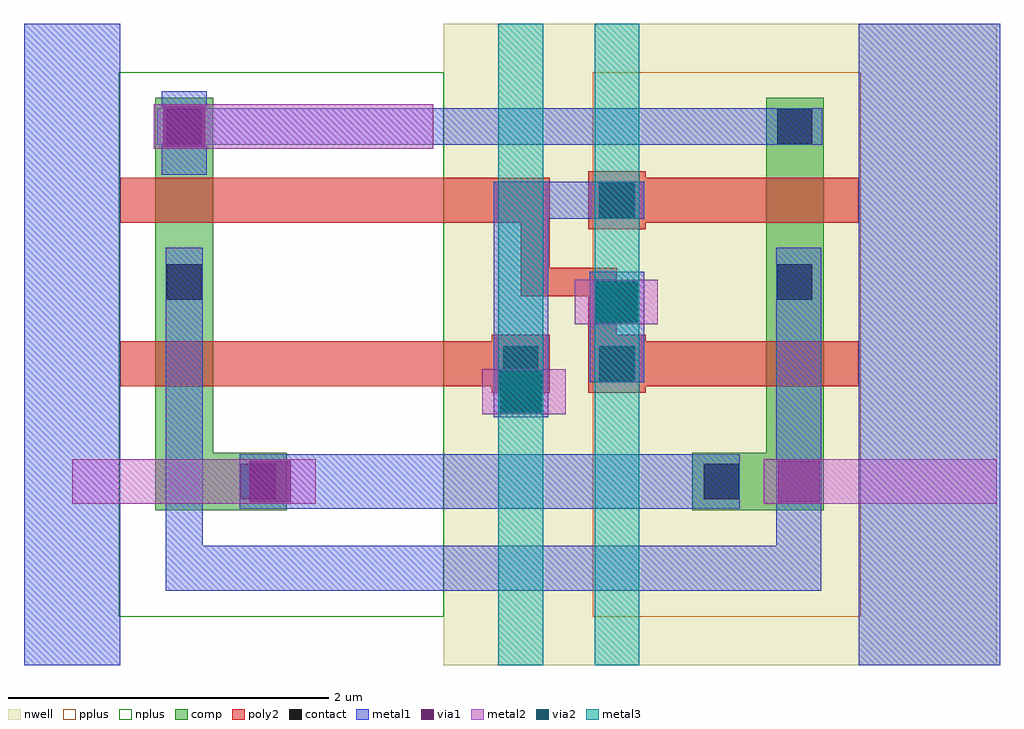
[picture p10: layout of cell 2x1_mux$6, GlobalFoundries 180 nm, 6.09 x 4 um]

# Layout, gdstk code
import gdstk
lib = gdstk.Library(unit=1e-6, precision=5e-09)
def R(c, l, rs):  # rectangles x0, y0, x1, y1
    for r in rs: c.add(gdstk.rectangle(r[:2], r[2:], *l))
nwell = (21, 0)
comp = (22, 0)
poly2 = (30, 0)
pplus = (31, 0)
nplus = (32, 0)
contact = (33, 0)
metal1 = (34, 0)
via1 = (35, 0)
metal2 = (36, 0)
via2 = (38, 0)
metal3 = (42, 0)

c_2x1_mux_6 = lib.new_cell('2x1_mux$6')
R(c_2x1_mux_6, nwell, [(8.24,0.125,11.69,4.125)])
R(c_2x1_mux_6, comp, [(6.44,1.09,6.8,3.665), (6.8,1.09,7.26,1.45), (9.79,1.09,10.25,1.45), (10.25,1.09,10.61,3.665)])
R(c_2x1_mux_6, poly2, [(8.54,1.825,8.9,2.185), (9.14,1.825,9.5,2.185), (6.22,1.865,8.54,2.145), (9.5,1.865,10.83,2.145), (9.14,2.185,9.32,2.425), (8.72,2.425,9.32,2.605), (8.72,2.605,8.9,2.885), (9.14,2.845,9.5,3.205), (6.22,2.885,8.9,3.165), (9.5,2.885,10.83,3.165)])
R(c_2x1_mux_6, pplus, [(9.17,0.425,10.84,3.825)])
R(c_2x1_mux_6, nplus, [(6.21,0.425,8.24,3.825)])
R(c_2x1_mux_6, contact, [(6.97,1.16,7.19,1.38), (9.86,1.16,10.08,1.38), (8.61,1.895,8.83,2.115), (9.21,1.895,9.43,2.115), (6.51,2.405,6.73,2.625), (10.32,2.405,10.54,2.625), (9.21,2.915,9.43,3.135), (6.51,3.375,6.73,3.595), (10.32,3.375,10.54,3.595)])
R(c_2x1_mux_6, metal1, [(5.62,0.125,6.22,4.125), (10.83,0.125,11.71,4.125), (6.505,0.59,6.735,2.73), (6.735,0.59,10.315,0.87), (10.315,0.59,10.595,2.73), (6.965,1.1,10.085,1.44), (8.55,1.67,8.89,2.91), (9.15,1.89,9.49,2.58), (8.55,2.91,9.49,3.14), (6.48,3.185,6.76,3.705), (6.45,3.37,10.6,3.6)])
R(c_2x1_mux_6, via1, [(7.025,1.14,7.285,1.4), (10.325,1.14,10.585,1.4), (8.59,1.7,8.85,1.96), (9.19,2.26,9.45,2.52), (6.49,3.355,6.75,3.615)])
R(c_2x1_mux_6, metal2, [(5.92,1.13,7.44,1.41), (10.235,1.13,11.69,1.41), (8.48,1.69,9,1.97), (9.055,2.25,9.575,2.53), (6.43,3.345,8.175,3.625)])
R(c_2x1_mux_6, via2, [(8.59,1.7,8.85,1.96), (9.19,2.26,9.45,2.52)])
R(c_2x1_mux_6, metal3, [(8.58,0.125,8.86,4.125), (9.18,0.125,9.46,4.125)])

lib.write_gds('2x1_mux_6.gds')
